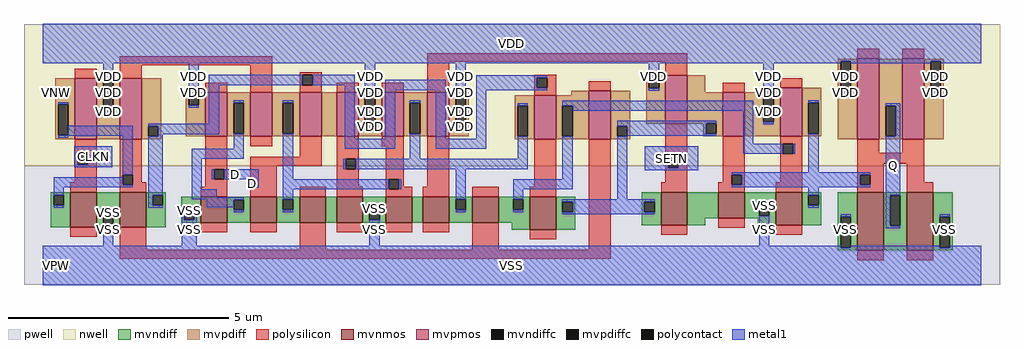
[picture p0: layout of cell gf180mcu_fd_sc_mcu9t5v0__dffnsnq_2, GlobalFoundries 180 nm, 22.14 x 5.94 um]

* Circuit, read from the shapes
.subckt gf180mcu_fd_sc_mcu9t5v0__dffnsnq_2 D SETN CLKN Q VDD VNW VPW VSS
XM1 VSS CLKN n1 VPW nfet_06v0 w=0.79u l=0.6u
XM2 n2 n1 VSS VPW nfet_06v0 w=0.79u l=0.6u
XM3 n3 D VSS VPW nfet_06v0 w=0.59u l=0.6u
XM4 n4 n2 n3 VPW nfet_06v0 w=0.59u l=0.6u
XM5 n5 n1 n4 VPW nfet_06v0 w=0.59u l=0.6u
XM6 VSS n6 n5 VPW nfet_06v0 w=0.59u l=0.6u
XM7 n7 n4 VSS VPW nfet_06v0 w=0.59u l=0.6u
XM8 n6 SETN n7 VPW nfet_06v0 w=0.59u l=0.6u
XM9 n8 n1 n6 VPW nfet_06v0 w=0.59u l=0.6u
XM10 n9 n2 n8 VPW nfet_06v0 w=0.75u l=0.6u
XM11 n10 SETN n9 VPW nfet_06v0 w=0.75u l=0.6u
XM12 VSS n11 n10 VPW nfet_06v0 w=0.59u l=0.6u
XM13 n11 n8 VSS VPW nfet_06v0 w=0.75u l=0.6u
XM14 Q n11 VSS VPW nfet_06v0 w=1.32u l=0.6u m=2
XM15 VDD CLKN n1 VNW pfet_06v0 w=1.38u l=0.5u
XM16 n2 n1 VDD VNW pfet_06v0 w=1.38u l=0.5u
XM17 n3 D VDD VNW pfet_06v0 w=1u l=0.5u
XM18 n4 n1 n3 VNW pfet_06v0 w=1u l=0.5u
XM19 n12 n2 n4 VNW pfet_06v0 w=1u l=0.5u
XM20 VDD n6 n12 VNW pfet_06v0 w=1u l=0.5u
XM21 n6 n4 VDD VNW pfet_06v0 w=1u l=0.5u
XM22 VDD SETN n6 VNW pfet_06v0 w=1u l=0.5u
XM23 n8 n2 n6 VNW pfet_06v0 w=1u l=0.5u
XM24 n9 n1 n8 VNW pfet_06v0 w=1.1u l=0.5u
XM25 n9 SETN VDD VNW pfet_06v0 w=1.1u l=0.5u
XM26 VDD n11 n9 VNW pfet_06v0 w=1u l=0.5u
XM27 n11 n8 VDD VNW pfet_06v0 w=1.1u l=0.5u
XM28 Q n11 VDD VNW pfet_06v0 w=1.83u l=0.5u m=2
.ends

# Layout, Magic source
magic
tech gf180mcuD
magscale 1 10
<< nwell >>
rect -86 453 4342 1094
<< pwell >>
rect -86 -86 4342 453
<< mvnmos >>
rect 124 175 244 333
rect 348 175 468 333
rect 716 195 836 313
rect 940 195 1060 313
rect 1164 195 1284 313
rect 1332 195 1452 313
rect 1556 195 1676 313
rect 1724 195 1844 313
rect 1948 195 2068 313
rect 2208 163 2328 313
rect 2804 183 2924 333
rect 3064 215 3184 333
rect 3324 183 3444 333
rect 3695 69 3815 333
rect 3919 69 4039 333
<< mvpmos >>
rect 144 573 244 849
rect 348 573 448 849
rect 736 586 836 786
rect 940 586 1040 786
rect 1164 586 1264 786
rect 1332 586 1432 786
rect 1536 586 1636 786
rect 1744 586 1844 786
rect 2228 573 2328 773
rect 2476 573 2576 793
rect 2824 644 2924 864
rect 3084 586 3184 786
rect 3344 586 3444 806
rect 3695 573 3795 939
rect 3899 573 3999 939
<< mvndiff >>
rect 36 320 124 333
rect 36 274 49 320
rect 95 274 124 320
rect 36 175 124 274
rect 244 234 348 333
rect 244 188 273 234
rect 319 188 348 234
rect 244 175 348 188
rect 468 320 556 333
rect 468 274 497 320
rect 543 274 556 320
rect 468 175 556 274
rect 628 254 716 313
rect 628 208 641 254
rect 687 208 716 254
rect 628 195 716 208
rect 836 299 940 313
rect 836 253 865 299
rect 911 253 940 299
rect 836 195 940 253
rect 1060 300 1164 313
rect 1060 254 1089 300
rect 1135 254 1164 300
rect 1060 195 1164 254
rect 1284 195 1332 313
rect 1452 254 1556 313
rect 1452 208 1481 254
rect 1527 208 1556 254
rect 1452 195 1556 208
rect 1676 195 1724 313
rect 1844 300 1948 313
rect 1844 254 1873 300
rect 1919 254 1948 300
rect 1844 195 1948 254
rect 2068 300 2208 313
rect 2068 254 2133 300
rect 2179 254 2208 300
rect 2068 195 2208 254
rect 2128 163 2208 195
rect 2328 289 2416 313
rect 2328 243 2357 289
rect 2403 243 2416 289
rect 2328 163 2416 243
rect 2716 289 2804 333
rect 2716 243 2729 289
rect 2775 243 2804 289
rect 2716 183 2804 243
rect 2924 215 3064 333
rect 3184 273 3324 333
rect 3184 227 3249 273
rect 3295 227 3324 273
rect 3184 215 3324 227
rect 2924 183 3004 215
rect 3244 183 3324 215
rect 3444 320 3532 333
rect 3444 274 3473 320
rect 3519 274 3532 320
rect 3444 183 3532 274
rect 3607 222 3695 333
rect 3607 82 3620 222
rect 3666 82 3695 222
rect 3607 69 3695 82
rect 3815 320 3919 333
rect 3815 180 3844 320
rect 3890 180 3919 320
rect 3815 69 3919 180
rect 4039 222 4127 333
rect 4039 82 4068 222
rect 4114 82 4127 222
rect 4039 69 4127 82
<< mvpdiff >>
rect 56 731 144 849
rect 56 591 69 731
rect 115 591 144 731
rect 56 573 144 591
rect 244 836 348 849
rect 244 696 273 836
rect 319 696 348 836
rect 244 573 348 696
rect 448 632 536 849
rect 3607 926 3695 939
rect 2736 851 2824 864
rect 448 586 477 632
rect 523 586 536 632
rect 648 773 736 786
rect 648 727 661 773
rect 707 727 736 773
rect 648 586 736 727
rect 836 739 940 786
rect 836 599 865 739
rect 911 599 940 739
rect 836 586 940 599
rect 1040 739 1164 786
rect 1040 599 1089 739
rect 1135 599 1164 739
rect 1040 586 1164 599
rect 1264 586 1332 786
rect 1432 773 1536 786
rect 1432 633 1461 773
rect 1507 633 1536 773
rect 1432 586 1536 633
rect 1636 739 1744 786
rect 1636 599 1665 739
rect 1711 599 1744 739
rect 1636 586 1744 599
rect 1844 773 1932 786
rect 2736 805 2749 851
rect 2795 805 2824 851
rect 2396 773 2476 793
rect 1844 633 1873 773
rect 1919 633 1932 773
rect 1844 586 1932 633
rect 2140 726 2228 773
rect 2140 586 2153 726
rect 2199 586 2228 726
rect 448 573 536 586
rect 2140 573 2228 586
rect 2328 726 2476 773
rect 2328 586 2357 726
rect 2403 586 2476 726
rect 2328 573 2476 586
rect 2576 632 2664 793
rect 2736 644 2824 805
rect 2924 786 3004 864
rect 3256 793 3344 806
rect 3256 786 3269 793
rect 2924 645 3084 786
rect 2924 644 3009 645
rect 2576 586 2605 632
rect 2651 586 2664 632
rect 2576 573 2664 586
rect 2996 599 3009 644
rect 3055 599 3084 645
rect 2996 586 3084 599
rect 3184 653 3269 786
rect 3315 653 3344 793
rect 3184 586 3344 653
rect 3444 739 3532 806
rect 3444 599 3473 739
rect 3519 599 3532 739
rect 3444 586 3532 599
rect 3607 786 3620 926
rect 3666 786 3695 926
rect 3607 573 3695 786
rect 3795 726 3899 939
rect 3795 586 3824 726
rect 3870 586 3899 726
rect 3795 573 3899 586
rect 3999 926 4087 939
rect 3999 786 4028 926
rect 4074 786 4087 926
rect 3999 573 4087 786
<< mvndiffc >>
rect 49 274 95 320
rect 273 188 319 234
rect 497 274 543 320
rect 641 208 687 254
rect 865 253 911 299
rect 1089 254 1135 300
rect 1481 208 1527 254
rect 1873 254 1919 300
rect 2133 254 2179 300
rect 2357 243 2403 289
rect 2729 243 2775 289
rect 3249 227 3295 273
rect 3473 274 3519 320
rect 3620 82 3666 222
rect 3844 180 3890 320
rect 4068 82 4114 222
<< mvpdiffc >>
rect 69 591 115 731
rect 273 696 319 836
rect 477 586 523 632
rect 661 727 707 773
rect 865 599 911 739
rect 1089 599 1135 739
rect 1461 633 1507 773
rect 1665 599 1711 739
rect 2749 805 2795 851
rect 1873 633 1919 773
rect 2153 586 2199 726
rect 2357 586 2403 726
rect 2605 586 2651 632
rect 3009 599 3055 645
rect 3269 653 3315 793
rect 3473 599 3519 739
rect 3620 786 3666 926
rect 3824 586 3870 726
rect 4028 786 4074 926
<< polysilicon >>
rect 348 909 1040 949
rect 144 849 244 893
rect 348 849 448 909
rect 736 786 836 830
rect 940 786 1040 909
rect 1744 924 2924 964
rect 3695 939 3795 983
rect 3899 939 3999 983
rect 1164 865 1264 878
rect 1164 819 1177 865
rect 1223 819 1264 865
rect 1164 786 1264 819
rect 1332 786 1432 830
rect 1536 786 1636 830
rect 1744 786 1844 924
rect 2228 852 2328 865
rect 2824 864 2924 924
rect 2228 806 2241 852
rect 2287 806 2328 852
rect 2228 773 2328 806
rect 2476 793 2576 837
rect 144 504 244 573
rect 144 458 157 504
rect 203 458 244 504
rect 144 377 244 458
rect 124 333 244 377
rect 348 412 448 573
rect 348 366 361 412
rect 407 377 448 412
rect 736 438 836 586
rect 940 542 1040 586
rect 1164 494 1264 586
rect 736 392 777 438
rect 823 392 836 438
rect 407 366 468 377
rect 348 333 468 366
rect 736 357 836 392
rect 716 313 836 357
rect 940 454 1264 494
rect 1332 484 1432 586
rect 1536 542 1636 586
rect 940 313 1060 454
rect 1332 438 1373 484
rect 1419 438 1432 484
rect 1332 357 1432 438
rect 1556 392 1636 542
rect 1164 313 1284 357
rect 1332 313 1452 357
rect 1556 346 1569 392
rect 1615 357 1636 392
rect 1744 357 1844 586
rect 3084 786 3184 830
rect 3344 806 3444 850
rect 2228 357 2328 573
rect 1615 346 1676 357
rect 1556 313 1676 346
rect 1724 313 1844 357
rect 1948 313 2068 357
rect 2208 313 2328 357
rect 124 131 244 175
rect 348 71 468 175
rect 716 151 836 195
rect 940 151 1060 195
rect 1164 71 1284 195
rect 1332 151 1452 195
rect 1556 151 1676 195
rect 1724 151 1844 195
rect 1948 71 2068 195
rect 2208 119 2328 163
rect 2476 71 2576 573
rect 2824 490 2924 644
rect 2824 444 2837 490
rect 2883 444 2924 490
rect 2824 377 2924 444
rect 3084 412 3184 586
rect 3084 377 3125 412
rect 2804 333 2924 377
rect 3064 366 3125 377
rect 3171 366 3184 412
rect 3344 553 3444 586
rect 3344 507 3357 553
rect 3403 507 3444 553
rect 3695 513 3795 573
rect 3899 513 3999 573
rect 3344 377 3444 507
rect 3694 461 3999 513
rect 3694 425 3815 461
rect 3064 333 3184 366
rect 3324 333 3444 377
rect 3695 412 3815 425
rect 3695 366 3708 412
rect 3754 366 3815 412
rect 3695 333 3815 366
rect 3919 377 3999 461
rect 3919 333 4039 377
rect 2804 139 2924 183
rect 3064 171 3184 215
rect 3324 139 3444 183
rect 348 31 2576 71
rect 3695 25 3815 69
rect 3919 25 4039 69
<< polycontact >>
rect 1177 819 1223 865
rect 2241 806 2287 852
rect 157 458 203 504
rect 361 366 407 412
rect 777 392 823 438
rect 1373 438 1419 484
rect 1569 346 1615 392
rect 2837 444 2883 490
rect 3125 366 3171 412
rect 3357 507 3403 553
rect 3708 366 3754 412
<< metal1 >>
rect 0 926 4256 1098
rect 0 918 3620 926
rect 273 836 319 918
rect 69 731 115 742
rect 661 773 707 918
rect 661 716 707 727
rect 753 819 1177 865
rect 1223 819 1415 865
rect 273 685 319 696
rect 753 643 799 819
rect 115 591 407 634
rect 69 588 407 591
rect 69 580 115 588
rect 142 504 315 542
rect 142 458 157 504
rect 203 458 315 504
rect 142 447 315 458
rect 361 412 407 588
rect 49 366 361 401
rect 49 355 407 366
rect 477 632 799 643
rect 523 597 799 632
rect 865 739 911 750
rect 523 586 543 597
rect 49 320 95 355
rect 49 263 95 274
rect 477 320 543 586
rect 865 530 911 599
rect 477 274 497 320
rect 674 484 911 530
rect 1089 739 1135 750
rect 674 346 720 484
rect 766 392 777 438
rect 823 392 978 438
rect 926 354 978 392
rect 1089 392 1135 599
rect 1369 576 1415 819
rect 1461 773 1507 918
rect 1461 622 1507 633
rect 1553 796 1827 842
rect 1553 576 1599 796
rect 1369 530 1599 576
rect 1665 739 1711 750
rect 1665 484 1711 599
rect 1781 576 1827 796
rect 1873 773 1919 918
rect 1873 622 1919 633
rect 1965 852 2287 863
rect 1965 806 2241 852
rect 1965 795 2287 806
rect 2749 851 2795 918
rect 1965 576 2011 795
rect 2749 794 2795 805
rect 3269 793 3315 918
rect 1781 530 2011 576
rect 2153 726 2199 737
rect 2153 484 2199 586
rect 1362 438 1373 484
rect 1419 438 2199 484
rect 2357 726 3223 748
rect 2403 702 3223 726
rect 1089 346 1569 392
rect 1615 346 1626 392
rect 674 310 788 346
rect 674 300 911 310
rect 477 263 543 274
rect 743 299 911 300
rect 743 264 865 299
rect 273 234 319 245
rect 273 90 319 188
rect 630 208 641 254
rect 687 208 698 254
rect 865 242 911 253
rect 1089 300 1135 346
rect 1873 300 1919 438
rect 2357 392 2403 586
rect 1089 243 1135 254
rect 1481 254 1527 265
rect 630 90 698 208
rect 1873 243 1919 254
rect 2133 346 2403 392
rect 2605 645 3055 656
rect 2605 632 3009 645
rect 2651 599 3009 632
rect 2651 588 3055 599
rect 2133 300 2179 346
rect 2605 300 2651 586
rect 3177 553 3223 702
rect 3666 918 4028 926
rect 3620 775 3666 786
rect 4074 918 4256 926
rect 4028 775 4074 786
rect 3269 642 3315 653
rect 3473 739 3519 750
rect 2731 490 2972 542
rect 3177 507 3357 553
rect 3403 507 3414 553
rect 2731 444 2837 490
rect 2883 444 2972 490
rect 2731 433 2972 444
rect 3473 423 3519 599
rect 3824 726 3890 737
rect 3870 586 3890 726
rect 3125 412 3754 423
rect 3171 366 3708 412
rect 3125 355 3754 366
rect 3473 320 3519 355
rect 2133 243 2179 254
rect 2357 289 2775 300
rect 2403 243 2729 289
rect 2357 232 2775 243
rect 3249 273 3295 284
rect 1481 90 1527 208
rect 3473 263 3519 274
rect 3824 320 3890 586
rect 3249 90 3295 227
rect 3620 222 3666 233
rect 0 82 3620 90
rect 3824 180 3844 320
rect 3824 169 3890 180
rect 4068 222 4114 233
rect 3666 82 4068 90
rect 4114 82 4256 90
rect 0 -90 4256 82
<< labels >>
flabel metal1 s 142 447 315 542 0 FreeSans 200 0 0 0 CLKN
port 3 nsew clock input
flabel metal1 s 766 392 978 438 0 FreeSans 200 0 0 0 D
port 1 nsew default input
flabel metal1 s 3824 169 3890 737 0 FreeSans 200 0 0 0 Q
port 4 nsew default output
flabel metal1 s 2731 433 2972 542 0 FreeSans 200 0 0 0 SETN
port 2 nsew default input
flabel metal1 s 0 918 4256 1098 0 FreeSans 200 0 0 0 VDD
port 5 nsew power bidirectional abutment
flabel metal1 s 3249 265 3295 284 0 FreeSans 200 0 0 0 VSS
port 8 nsew ground bidirectional abutment
flabel nwell s 10 734 110 834 0 FreeSans 400 0 0 0 VNW
port 6 nsew power bidirectional
flabel pwell s 10 -50 110 50 0 FreeSans 400 0 0 0 VPW
port 7 nsew ground bidirectional
rlabel metal1 s 926 354 978 392 1 D
port 1 nsew default input
rlabel metal1 s 4028 794 4074 918 1 VDD
port 5 nsew power bidirectional abutment
rlabel metal1 s 3620 794 3666 918 1 VDD
port 5 nsew power bidirectional abutment
rlabel metal1 s 3269 794 3315 918 1 VDD
port 5 nsew power bidirectional abutment
rlabel metal1 s 2749 794 2795 918 1 VDD
port 5 nsew power bidirectional abutment
rlabel metal1 s 1873 794 1919 918 1 VDD
port 5 nsew power bidirectional abutment
rlabel metal1 s 1461 794 1507 918 1 VDD
port 5 nsew power bidirectional abutment
rlabel metal1 s 661 794 707 918 1 VDD
port 5 nsew power bidirectional abutment
rlabel metal1 s 273 794 319 918 1 VDD
port 5 nsew power bidirectional abutment
rlabel metal1 s 4028 775 4074 794 1 VDD
port 5 nsew power bidirectional abutment
rlabel metal1 s 3620 775 3666 794 1 VDD
port 5 nsew power bidirectional abutment
rlabel metal1 s 3269 775 3315 794 1 VDD
port 5 nsew power bidirectional abutment
rlabel metal1 s 1873 775 1919 794 1 VDD
port 5 nsew power bidirectional abutment
rlabel metal1 s 1461 775 1507 794 1 VDD
port 5 nsew power bidirectional abutment
rlabel metal1 s 661 775 707 794 1 VDD
port 5 nsew power bidirectional abutment
rlabel metal1 s 273 775 319 794 1 VDD
port 5 nsew power bidirectional abutment
rlabel metal1 s 3269 716 3315 775 1 VDD
port 5 nsew power bidirectional abutment
rlabel metal1 s 1873 716 1919 775 1 VDD
port 5 nsew power bidirectional abutment
rlabel metal1 s 1461 716 1507 775 1 VDD
port 5 nsew power bidirectional abutment
rlabel metal1 s 661 716 707 775 1 VDD
port 5 nsew power bidirectional abutment
rlabel metal1 s 273 716 319 775 1 VDD
port 5 nsew power bidirectional abutment
rlabel metal1 s 3269 685 3315 716 1 VDD
port 5 nsew power bidirectional abutment
rlabel metal1 s 1873 685 1919 716 1 VDD
port 5 nsew power bidirectional abutment
rlabel metal1 s 1461 685 1507 716 1 VDD
port 5 nsew power bidirectional abutment
rlabel metal1 s 273 685 319 716 1 VDD
port 5 nsew power bidirectional abutment
rlabel metal1 s 3269 642 3315 685 1 VDD
port 5 nsew power bidirectional abutment
rlabel metal1 s 1873 642 1919 685 1 VDD
port 5 nsew power bidirectional abutment
rlabel metal1 s 1461 642 1507 685 1 VDD
port 5 nsew power bidirectional abutment
rlabel metal1 s 1873 622 1919 642 1 VDD
port 5 nsew power bidirectional abutment
rlabel metal1 s 1461 622 1507 642 1 VDD
port 5 nsew power bidirectional abutment
rlabel metal1 s 3249 254 3295 265 1 VSS
port 8 nsew ground bidirectional abutment
rlabel metal1 s 1481 254 1527 265 1 VSS
port 8 nsew ground bidirectional abutment
rlabel metal1 s 3249 245 3295 254 1 VSS
port 8 nsew ground bidirectional abutment
rlabel metal1 s 1481 245 1527 254 1 VSS
port 8 nsew ground bidirectional abutment
rlabel metal1 s 630 245 698 254 1 VSS
port 8 nsew ground bidirectional abutment
rlabel metal1 s 3249 233 3295 245 1 VSS
port 8 nsew ground bidirectional abutment
rlabel metal1 s 1481 233 1527 245 1 VSS
port 8 nsew ground bidirectional abutment
rlabel metal1 s 630 233 698 245 1 VSS
port 8 nsew ground bidirectional abutment
rlabel metal1 s 273 233 319 245 1 VSS
port 8 nsew ground bidirectional abutment
rlabel metal1 s 4068 90 4114 233 1 VSS
port 8 nsew ground bidirectional abutment
rlabel metal1 s 3620 90 3666 233 1 VSS
port 8 nsew ground bidirectional abutment
rlabel metal1 s 3249 90 3295 233 1 VSS
port 8 nsew ground bidirectional abutment
rlabel metal1 s 1481 90 1527 233 1 VSS
port 8 nsew ground bidirectional abutment
rlabel metal1 s 630 90 698 233 1 VSS
port 8 nsew ground bidirectional abutment
rlabel metal1 s 273 90 319 233 1 VSS
port 8 nsew ground bidirectional abutment
rlabel metal1 s 0 -90 4256 90 1 VSS
port 8 nsew ground bidirectional abutment
<< properties >>
string FIXED_BBOX 0 0 4256 1008
string GDS_END 570332
string GDS_FILE $PDKPATH/libs.ref/gf180mcu_fd_sc_mcu9t5v0/gds/gf180mcu_fd_sc_mcu9t5v0.gds
string GDS_START 561126
string LEFclass core
string LEFsite GF018hv5v_green_sc9
string LEFsymmetry X Y
<< end >>
